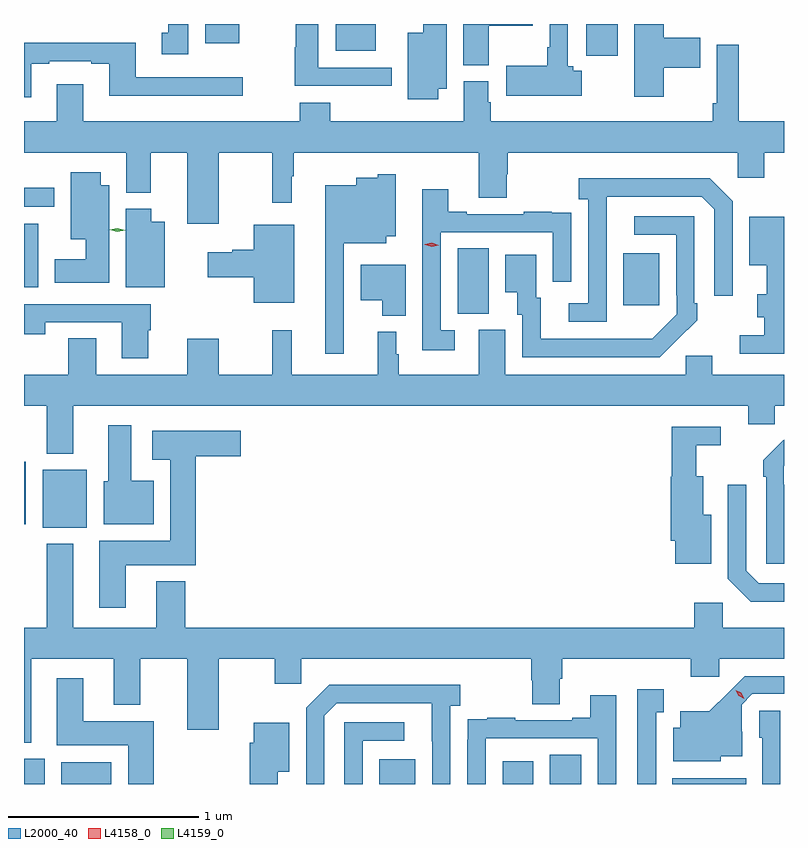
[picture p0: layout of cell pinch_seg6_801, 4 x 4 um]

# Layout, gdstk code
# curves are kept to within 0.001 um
import gdstk
lib = gdstk.Library(unit=1e-6, precision=1e-09)
def R(c, l, rs):  # rectangles x0, y0, x1, y1
    for r in rs: c.add(gdstk.rectangle(r[:2], r[2:], *l))
def P(c, l, *ps):  # polygons
    for p in ps: c.add(gdstk.Polygon(p, *l))
L2000_40 = (2000, 40)
L4158_0 = (4158, 0)
L4159_0 = (4159, 0)

pinch_seg6_801 = lib.new_cell('pinch_seg6_801')
R(pinch_seg6_801, L2000_40, [(128.184,974.649,128.293,974.782), (128.381,974.649,128.644,974.764), (130.055,974.649,130.243,974.779), (130.703,974.649,130.864,974.77), (130.952,974.649,131.116,974.804), (131.597,974.649,131.984,974.68), (128.282,975.998,128.515,976.303), (128.184,976.016,128.194,976.345), (130.466,977.125,130.63,977.468), (131.339,977.169,131.527,977.443), (128.184,977.264,128.26,977.599), (128.184,977.688,128.344,977.786), (131.144,978.483,131.308,978.649), (129.824,978.509,130.036,978.649), (129.137,978.548,129.316,978.649)])
P(pinch_seg6_801, L2000_40, [(131.551,978.419),(131.744,978.419),(131.744,978.577),(131.551,978.577),(131.551,978.649),(131.396,978.649),(131.396,978.267),(131.551,978.267)],
  [(130.63,978.641),(130.861,978.641),(130.861,978.649),(130.496,978.649),(130.496,978.433),(130.63,978.433)],
  [(130.363,978.308),(130.408,978.308),(130.408,978.649),(130.286,978.649),(130.286,978.604),(130.205,978.604),(130.205,978.252),(130.363,978.252)],
  [(129.049,978.649),(128.942,978.649),(128.942,978.602),(128.909,978.602),(128.909,978.489),(129.049,978.489)],
  [(131.119,978.404),(131.074,978.404),(131.074,978.426),(131.046,978.426),(131.046,978.649),(130.95,978.649),(130.95,978.526),(130.938,978.526),(130.938,978.43),(130.722,978.43),(130.722,978.272),(131.119,978.272)],
  [(130.12,978.42),(129.733,978.42),(129.733,978.649),(129.613,978.649),(129.613,978.527),(129.608,978.527),(129.608,978.323),(130.12,978.323)],
  [(128.221,978.441),(128.317,978.441),(128.317,978.453),(128.537,978.453),(128.537,978.441),(128.633,978.441),(128.633,978.272),(129.334,978.272),(129.334,978.369),(128.773,978.369),(128.773,978.55),(128.184,978.55),(128.184,978.264),(128.221,978.264)],
  [(129.208,977.972),(129.49,977.972),(129.49,977.709),(129.592,977.709),(129.592,977.849),(129.604,977.849),(129.604,977.972),(130.577,977.972),(130.577,977.734),(130.725,977.734),(130.725,977.859),(130.73,977.859),(130.73,977.972),(131.94,977.972),(131.94,977.841),(132.079,977.841),(132.079,977.972),(132.184,977.972),(132.184,978.136),(131.945,978.136),(131.945,978.541),(131.829,978.541),(131.829,978.232),(131.809,978.232),(131.809,978.136),(130.64,978.136),(130.64,978.237),(130.627,978.237),(130.627,978.348),(130.499,978.348),(130.499,978.136),(129.795,978.136),(129.795,978.235),(129.635,978.235),(129.635,978.136),(128.497,978.136),(128.497,978.331),(128.357,978.331),(128.357,978.136),(128.184,978.136),(128.184,977.972),(128.723,977.972),(128.723,977.761),(128.851,977.761),(128.851,977.972),(129.044,977.972),(129.044,977.598),(129.208,977.598)],
  [(128.632,977.8),(128.587,977.8),(128.587,977.869),(128.429,977.869),(128.429,977.516),(128.51,977.516),(128.51,977.41),(128.345,977.41),(128.345,977.288),(128.632,977.288)],
  [(129.867,977.495),(130.09,977.495),(130.09,977.531),(130.141,977.531),(130.141,977.857),(130.047,977.857),(130.047,977.839),(129.932,977.839),(129.932,977.8),(129.77,977.8),(129.77,976.914),(129.867,976.914)],
  [(131.25,977.539),(131.251,977.739),(131.751,977.739),(131.817,977.673),(131.817,977.22),(131.913,977.22),(131.913,977.715),(131.792,977.836),(131.103,977.836),(131.103,977.726),(131.154,977.726),(131.154,977.178),(131.052,977.178),(131.052,977.082),(131.25,977.082)],
  [(130.45,977.037),(130.377,977.037),(130.377,977.553),(130.968,977.553),(130.968,977.292),(131.064,977.292),(131.064,977.546),(131.063,977.546),(131.063,977.655),(130.961,977.655),(130.961,977.662),(130.813,977.662),(130.813,977.649),(130.513,977.649),(130.513,977.662),(130.417,977.662),(130.417,977.779),(130.28,977.779),(130.28,977.556),(130.281,977.556),(130.281,976.932),(130.45,976.932)],
  [(128.926,977.608),(128.854,977.608),(128.854,977.676),(128.72,977.676),(128.72,977.264),(128.926,977.264)],
  [(131.621,976.987),(131.622,976.986),(131.727,977.091),(131.727,977.179),(131.712,977.179),(131.712,977.637),(131.397,977.637),(131.397,977.541),(131.616,977.541),(131.616,977.221),(131.619,977.221),(131.619,977.121),(131.491,976.993),(130.903,976.992),(130.903,977.208),(130.879,977.208),(130.879,977.434),(130.718,977.434),(130.718,977.237),(130.781,977.237),(130.781,977.118),(130.806,977.118),(130.806,976.896),(131.53,976.896)],
  [(132.184,977.635),(132.002,977.635),(132.002,977.378),(132.092,977.378),(132.092,977.227),(132.044,977.227),(132.044,977.105),(132.081,977.105),(132.081,977.01),(131.952,977.01),(131.952,976.914),(132.184,976.914)],
  [(129.607,977.593),(129.392,977.593),(129.392,977.462),(129.279,977.462),(129.279,977.449),(129.15,977.449),(129.15,977.315),(129.392,977.315),(129.392,977.183),(129.607,977.183)],
  [(130.192,977.383),(129.956,977.383),(129.956,977.195),(130.07,977.195),(130.07,977.114),(130.192,977.114)],
  [(128.839,977.037),(128.852,977.037),(128.852,977.175),(128.184,977.175),(128.184,977.016),(128.295,977.016),(128.295,977.079),(128.699,977.079),(128.699,976.89),(128.839,976.89)],
  [(128.443,976.64),(131.996,976.64),(131.996,976.542),(132.135,976.542),(132.135,976.64),(132.184,976.64),(132.184,976.804),(131.806,976.804),(131.806,976.902),(131.667,976.902),(131.667,976.804),(130.717,976.804),(130.717,977.04),(130.577,977.04),(130.577,976.804),(130.156,976.804),(130.156,976.911),(130.144,976.911),(130.144,977.029),(130.046,977.029),(130.046,976.804),(129.593,976.804),(129.593,977.038),(129.49,977.038),(129.49,976.804),(129.208,976.804),(129.208,976.993),(129.044,976.993),(129.044,976.804),(128.563,976.804),(128.563,976.994),(128.416,976.994),(128.416,976.804),(128.184,976.804),(128.184,976.64),(128.303,976.64),(128.303,976.388),(128.443,976.388)],
  [(128.866,976.246),(128.749,976.246),(128.749,976.537),(128.627,976.537),(128.627,976.242),(128.603,976.242),(128.603,976.016),(128.866,976.016)],
  [(131.8,976.066),(131.758,976.066),(131.758,976.27),(131.722,976.27),(131.722,976.433),(131.851,976.433),(131.851,976.53),(131.593,976.53),(131.593,976.266),(131.588,976.266),(131.588,975.93),(131.612,975.93),(131.612,975.809),(131.8,975.809)],
  [(128.719,975.8),(129.089,975.8),(129.089,976.373),(129.325,976.373),(129.325,976.507),(128.858,976.507),(128.858,976.355),(128.954,976.355),(128.954,975.928),(128.579,975.928),(128.579,975.576),(128.719,975.576)],
  [(132.184,976.223),(132.183,976.223),(132.183,976.323),(132.184,976.324),(132.184,976.46),(132.181,976.457),(132.18,976.458),(132.075,976.353),(132.075,976.265),(132.09,976.265),(132.09,975.807),(132.184,975.807)],
  [(132.184,975.705),(132.051,975.705),(131.985,975.771),(131.985,976.225),(131.889,976.225),(131.889,975.729),(132.01,975.608),(132.184,975.608)],
  [(128.221,975.308),(128.657,975.308),(128.657,975.065),(128.797,975.065),(128.797,975.308),(129.044,975.308),(129.044,974.934),(129.208,974.934),(129.208,975.308),(129.503,975.308),(129.503,975.177),(129.642,975.177),(129.642,975.308),(130.853,975.308),(130.853,975.195),(130.858,975.195),(130.858,975.07),(131.005,975.07),(131.005,975.202),(131.018,975.202),(131.018,975.308),(131.693,975.308),(131.693,975.213),(131.844,975.213),(131.844,975.308),(132.184,975.308),(132.184,975.472),(131.862,975.472),(131.862,975.604),(131.711,975.604),(131.711,975.472),(129.032,975.472),(129.032,975.715),(128.879,975.715),(128.879,975.472),(128.443,975.472),(128.443,975.913),(128.303,975.913),(128.303,975.472),(128.184,975.472),(128.184,974.867),(128.221,974.867)],
  [(131.85,974.795),(131.965,974.795),(131.965,974.924),(131.961,974.924),(131.961,975.066),(132.018,975.123),(132.184,975.123),(132.184,975.216),(131.978,975.216),(131.791,975.031),(131.639,975.031),(131.639,974.944),(131.6,974.944),(131.6,974.768),(131.85,974.768)],
  [(128.867,974.98),(128.497,974.98),(128.497,975.205),(128.357,975.205),(128.357,974.852),(128.732,974.852),(128.732,974.649),(128.867,974.649)],
  [(129.765,975.009),(129.831,975.075),(130.331,975.075),(130.332,974.649),(130.428,974.649),(130.428,975.062),(130.48,975.062),(130.48,975.172),(129.79,975.172),(129.669,975.051),(129.669,974.649),(129.765,974.649)],
  [(131.512,975.027),(131.551,975.027),(131.551,975.148),(131.411,975.148),(131.411,974.649),(131.512,974.649)],
  [(130.614,974.889),(131.205,974.889),(131.205,974.649),(131.301,974.649),(131.301,975.115),(131.165,975.115),(131.165,974.998),(131.069,974.998),(131.069,974.985),(130.769,974.985),(130.769,974.998),(130.621,974.998),(130.621,974.991),(130.519,974.991),(130.519,974.882),(130.518,974.882),(130.518,974.649),(130.614,974.649)],
  [(132.165,975.035),(132.054,975.035),(132.054,974.892),(132.069,974.892),(132.069,974.649),(132.165,974.649)],
  [(129.966,974.877),(130.186,974.877),(130.186,974.973),(129.87,974.973),(129.87,974.649),(129.966,974.649)],
  [(129.52,974.714),(129.58,974.714),(129.58,974.971),(129.392,974.971),(129.392,974.867),(129.373,974.867),(129.373,974.649),(129.52,974.649)])
P(pinch_seg6_801, L4158_0, [(131.976,975.098),(131.946,975.113),(131.929,975.143),(131.929,975.143),(131.929,975.143),(131.959,975.128),(131.976,975.098),(131.976,975.098)],
  [(130.33,977.477),(130.294,977.488),(130.294,977.489),(130.294,977.489),(130.331,977.497),(130.366,977.485),(130.366,977.485),(130.366,977.485)])
P(pinch_seg6_801, L4159_0, [(128.675,977.555),(128.636,977.566),(128.636,977.566),(128.636,977.566),(128.676,977.575),(128.716,977.564),(128.716,977.564),(128.716,977.564)])

lib.write_gds('pinch_seg6_801.gds')
